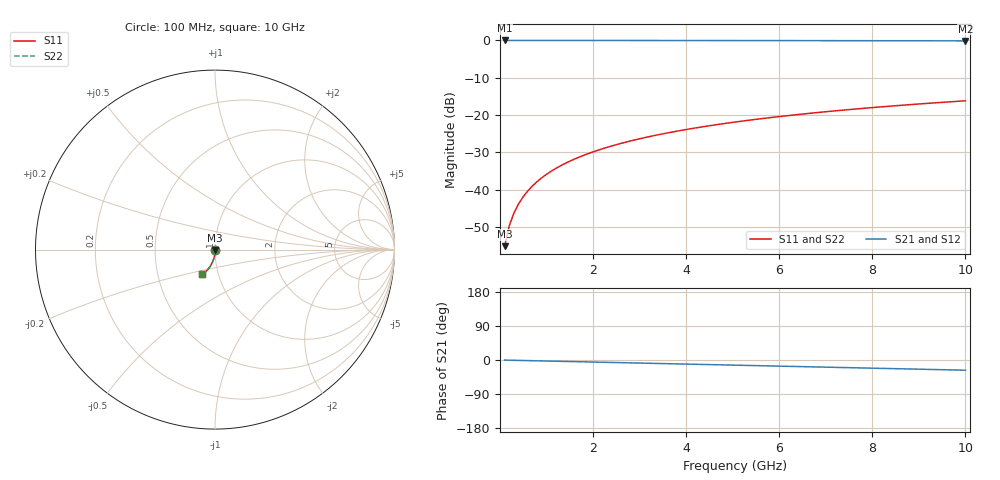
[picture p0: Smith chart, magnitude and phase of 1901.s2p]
# Hz S RI R 50.00
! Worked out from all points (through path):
!   100 points, 100 MHz to 10 GHz, reference 50 ohm
!   highest |S21| = -0.01 dB at 100 MHz (marker M1); lowest = -0.1 dB at 10 GHz (marker M2)
!   group delay of S21, straight-line fit = 7.49 ps
!   lowest |S11| = -55.1 dB at 100 MHz (marker M3), VSWR 1.00, Z = 50.1 - j0.161 ohm
!   |S11| at or under -10 dB: start of sweep to end of sweep
!   |S22| runs from -55.1 to -16.2 dB; largest |S21 - S12| = 0
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1e8  0.00069 -0.00161  0.9993 -0.00469  0.9993 -0.00469  0.00069 -0.00161
2e8  0.000669 -0.00322  0.9992 -0.00938  0.9992 -0.00938  0.000669 -0.00322
3e8  0.000632 -0.00482  0.9992 -0.0141  0.9992 -0.0141  0.000632 -0.00482
4e8  0.000579 -0.00643  0.9991 -0.0188  0.9991 -0.0188  0.000579 -0.00643
5e8  0.000511 -0.00804  0.999 -0.0235  0.999 -0.0235  0.000511 -0.00804
6e8  0.000427 -0.00964  0.9988 -0.0281  0.9988 -0.0281  0.000427 -0.00964
7e8  0.000328 -0.0112  0.9987 -0.0328  0.9987 -0.0328  0.000328 -0.0112
8e8  0.000214 -0.0129  0.9985 -0.0375  0.9985 -0.0375  0.000214 -0.0129
9e8  8.41e-05 -0.0145  0.9983 -0.0422  0.9983 -0.0422  8.41e-05 -0.0145
1.1e9  -0.00022 -0.0177  0.9978 -0.0516  0.9978 -0.0516  -0.00022 -0.0177
1.4e9  -0.00079 -0.0225  0.9968 -0.0656  0.9968 -0.0656  -0.00079 -0.0225
1.8e9  -0.00176 -0.0288  0.9952 -0.0844  0.9952 -0.0844  -0.00176 -0.0288
2.1e9  -0.00265 -0.0336  0.9938 -0.0984  0.9938 -0.0984  -0.00265 -0.0336
2.5e9  -0.00404 -0.0399  0.9915 -0.117  0.9915 -0.117  -0.00404 -0.0399
2.9e9  -0.00566 -0.0461  0.9888 -0.1356  0.9888 -0.1356  -0.00566 -0.0461
3.4e9  -0.00803 -0.0539  0.9849 -0.1588  0.9849 -0.1588  -0.00803 -0.0539
4.2e9  -0.0126 -0.066  0.9775 -0.1956  0.9775 -0.1956  -0.0126 -0.066
5.1e9  -0.0187 -0.0792  0.9672 -0.2366  0.9672 -0.2366  -0.0187 -0.0792
5.9e9  -0.0251 -0.0904  0.9565 -0.2726  0.9565 -0.2726  -0.0251 -0.0904
6.7e9  -0.0324 -0.1011  0.9444 -0.308  0.9444 -0.308  -0.0324 -0.1011
8.4e9  -0.0503 -0.1219  0.9139 -0.3812  0.9139 -0.3812  -0.0503 -0.1219
1e10  -0.0698 -0.1385  0.8796 -0.4472  0.8796 -0.4472  -0.0698 -0.1385
